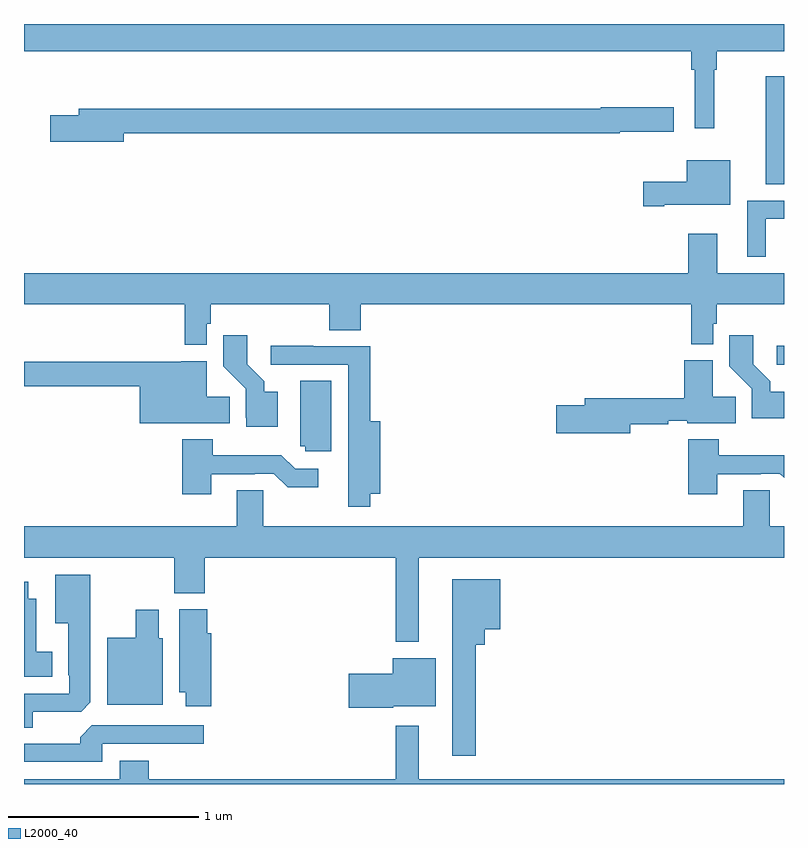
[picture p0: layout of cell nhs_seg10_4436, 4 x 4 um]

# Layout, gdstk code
import gdstk
lib = gdstk.Library(unit=1e-6, precision=1e-09)
def R(c, l, rs):  # rectangles x0, y0, x1, y1
    for r in rs: c.add(gdstk.rectangle(r[:2], r[2:], *l))
def P(c, l, *ps):  # polygons
    for p in ps: c.add(gdstk.Polygon(p, *l))
L2000_40 = (2000, 40)

nhs_seg10_4436 = lib.new_cell('nhs_seg10_4436')
R(nhs_seg10_4436, L2000_40, [(366.963,1258.707,367,1258.806), (366.905,1259.656,367,1260.226)])
P(nhs_seg10_4436, L2000_40, [(366.632,1260.26),(366.647,1260.26),(366.647,1260.356),(367,1260.356),(367,1260.5),(363,1260.5),(363,1260.356),(366.511,1260.356),(366.511,1260.26),(366.531,1260.26),(366.531,1259.952),(366.632,1259.952)],
  [(363.526,1259.926),(366.136,1259.926),(366.136,1259.933),(366.421,1259.933),(366.421,1260.063),(366.036,1260.063),(366.036,1260.055),(363.287,1260.055),(363.287,1260.021),(363.138,1260.021),(363.138,1259.879),(363.526,1259.879)],
  [(366.37,1259.549),(366.718,1259.549),(366.718,1259.782),(366.488,1259.782),(366.488,1259.671),(366.258,1259.671),(366.258,1259.542),(366.37,1259.542)],
  [(366.904,1259.475),(367,1259.475),(367,1259.571),(366.806,1259.571),(366.806,1259.274),(366.904,1259.274)],
  [(363.963,1258.923),(363.983,1258.923),(363.983,1259.024),(364.607,1259.024),(364.607,1258.888),(364.772,1258.888),(364.772,1259.024),(366.511,1259.024),(366.511,1258.814),(366.627,1258.814),(366.627,1258.923),(366.647,1258.923),(366.647,1259.024),(367,1259.024),(367,1259.188),(366.649,1259.188),(366.649,1259.395),(366.497,1259.395),(366.497,1259.188),(363,1259.188),(363,1259.024),(363.847,1259.024),(363.847,1258.811),(363.963,1258.811)],
  [(364.336,1258.564),(364.264,1258.564),(364.264,1258.619),(364.174,1258.709),(364.174,1258.861),(364.048,1258.861),(364.048,1258.698),(364.167,1258.579),(364.167,1258.428),(364.169,1258.428),(364.169,1258.379),(364.336,1258.379)],
  [(367,1258.564),(366.928,1258.564),(366.928,1258.619),(366.838,1258.709),(366.838,1258.861),(366.712,1258.861),(366.712,1258.698),(366.831,1258.579),(366.831,1258.424),(367,1258.424)],
  [(364.823,1258.028),(364.874,1258.028),(364.874,1258.408),(364.823,1258.408),(364.823,1258.803),(364.523,1258.803),(364.523,1258.806),(364.299,1258.806),(364.299,1258.707),(364.707,1258.707),(364.707,1257.96),(364.823,1257.96)],
  [(366.19,1258.393),(366.392,1258.393),(366.392,1258.413),(366.492,1258.413),(366.492,1258.4),(366.746,1258.4),(366.746,1258.538),(366.625,1258.538),(366.625,1258.729),(366.476,1258.729),(366.476,1258.529),(365.951,1258.529),(365.951,1258.493),(365.802,1258.493),(365.802,1258.346),(366.19,1258.346)],
  [(364.082,1258.538),(363.961,1258.538),(363.961,1258.726),(363.828,1258.726),(363.828,1258.723),(363,1258.723),(363,1258.594),(363.608,1258.594),(363.608,1258.4),(364.082,1258.4)],
  [(364.618,1258.622),(364.454,1258.622),(364.454,1258.278),(364.479,1258.278),(364.479,1258.251),(364.618,1258.251)],
  [(363.985,1258.131),(364.214,1258.131),(364.214,1258.134),(364.314,1258.134),(364.387,1258.061),(364.549,1258.061),(364.549,1258.158),(364.428,1258.158),(364.355,1258.231),(363.993,1258.231),(363.993,1258.315),(363.833,1258.315),(363.833,1258.026),(363.985,1258.026)],
  [(366.649,1258.131),(366.878,1258.131),(366.878,1258.134),(366.978,1258.134),(367,1258.112),(367,1258.231),(366.657,1258.231),(366.657,1258.315),(366.497,1258.315),(366.497,1258.026),(366.649,1258.026)],
  [(365.077,1257.692),(367,1257.692),(367,1257.856),(366.924,1257.856),(366.924,1258.046),(366.785,1258.046),(366.785,1257.856),(364.26,1257.856),(364.26,1258.046),(364.121,1258.046),(364.121,1257.856),(363,1257.856),(363,1257.692),(363.79,1257.692),(363.79,1257.505),(363.95,1257.505),(363.95,1257.692),(364.956,1257.692),(364.956,1257.248),(365.077,1257.248)],
  [(363.046,1256.88),(363.3,1256.88),(363.349,1256.929),(363.349,1257.601),(363.164,1257.601),(363.164,1257.347),(363.233,1257.347),(363.233,1257.073),(363.237,1257.073),(363.237,1256.976),(363,1256.976),(363,1256.797),(363.046,1256.797)],
  [(365.377,1257.233),(365.426,1257.233),(365.426,1257.314),(365.506,1257.314),(365.506,1257.577),(365.255,1257.577),(365.255,1256.649),(365.377,1256.649)],
  [(363.148,1257.196),(363.064,1257.196),(363.064,1257.475),(363.022,1257.475),(363.022,1257.565),(363,1257.565),(363,1257.065),(363.148,1257.065)],
  [(363.986,1257.294),(363.965,1257.294),(363.965,1257.42),(363.818,1257.42),(363.818,1256.984),(363.851,1256.984),(363.851,1256.91),(363.986,1256.91)],
  [(363.73,1257.267),(363.709,1257.267),(363.709,1257.418),(363.587,1257.418),(363.587,1257.271),(363.437,1257.271),(363.437,1256.918),(363.73,1256.918)],
  [(364.944,1256.909),(365.167,1256.909),(365.167,1257.163),(364.94,1257.163),(364.94,1257.08),(364.71,1257.08),(364.71,1256.902),(364.944,1256.902)],
  [(363.411,1256.712),(363.946,1256.712),(363.946,1256.808),(363.357,1256.808),(363.296,1256.746),(363.296,1256.712),(363,1256.712),(363,1256.616),(363.411,1256.616)],
  [(367,1256.524),(365.077,1256.524),(365.077,1256.806),(364.956,1256.806),(364.956,1256.524),(363.656,1256.524),(363.656,1256.623),(363.503,1256.623),(363.503,1256.524),(363,1256.524),(363,1256.5),(367,1256.5)])

lib.write_gds('nhs_seg10_4436.gds')
